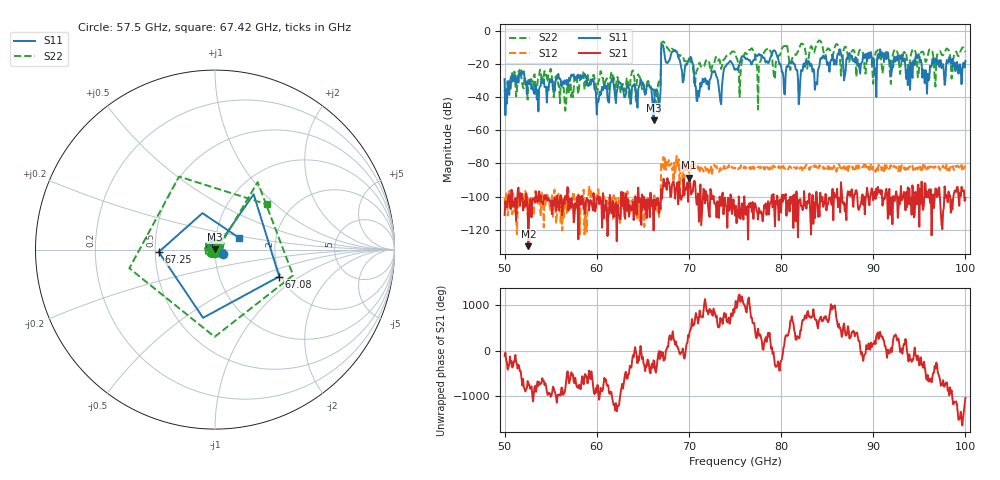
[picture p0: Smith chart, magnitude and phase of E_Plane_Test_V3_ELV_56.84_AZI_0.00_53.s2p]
! 11/26/2026 4:35:08 PM
! C:\ANRITSUVNA\TEMP\TEMP.S2P
! CHANNEL.1
! TR.MEASUREMENT
! RAW.DATA
# HZ S RI R 50.0
! FREQ.HZ  S11RE  S11IM  S21RE  S21IM  S12RE  S12IM  S22RE  S22IM
!; PortSelection: Port_12
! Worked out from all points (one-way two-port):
!   601 points, 50 GHz to 100 GHz, reference 50 ohm
!   highest |S21| = -88.55 dB at 70 GHz (marker M1); lowest = -130.0 dB at 52.58 GHz (marker M2)
!   lowest |S11| = -54.0 dB at 66.17 GHz (marker M3), VSWR 1.00, Z = 50.1 + j0.146 ohm
!   |S11| at or under -10 dB: start of sweep to 67 GHz; 67.25 GHz to end of sweep
!   |S22| runs from -48.1 to -5.6 dB; largest |S21 - S12| = 0.00016
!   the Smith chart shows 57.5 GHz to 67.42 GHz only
!   S11 on the Smith chart (normalised r, x): 57.5 GHz: 1.09, -0.05; 67.08 GHz: 1.95, -0.69; 67.25 GHz: 0.52, -0.02; 67.42 GHz: 1.29, +0.18
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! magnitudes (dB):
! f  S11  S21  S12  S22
! 50 GHz  -29.0  -111.1  -101.1  -35.4
! 52.58 GHz  -30.6  -130.0  -104.4  -29.4
! 57.5 GHz  -26.1  -115.6  -97.1  -34.6
! 58.42 GHz  -27.1  -99.6  -105.1  -24.8
! 60.17 GHz  -42.8  -99.6  -95.6  -30.3
! 66.17 GHz  -54.0  -120.5  -111.6  -34.0
! 66.67 GHz  -41.5  -101.7  -103.0  -31.6
! 67.08 GHz  -8.2  -101.3  -82.3  -6.8
! 67.25 GHz  -10.1  -89.2  -76.1  -6.2
! 67.42 GHz  -16.6  -93.8  -77.3  -8.3
! 70 GHz  -17.3  -88.6  -85.5  -16.5
! 70.92 GHz  -42.2  -104.3  -81.7  -23.2
! 75 GHz  -23.3  -111.4  -83.0  -13.0
! 77.58 GHz  -13.8  -106.9  -81.9  -21.7
! 78.5 GHz  -18.2  -107.4  -82.2  -10.8
! 79.33 GHz  -11.8  -117.9  -82.1  -28.8
! 80.25 GHz  -27.9  -98.9  -81.5  -9.4
! 83.42 GHz  -24.5  -99.0  -81.3  -10.8
! 91.67 GHz  -16.7  -99.5  -81.8  -15.2
! 94.83 GHz  -15.0  -92.9  -83.3  -27.8
! 95.83 GHz  -37.8  -96.8  -84.4  -16.5
! 100 GHz  -17.9  -100.9  -81.4  -12.5
